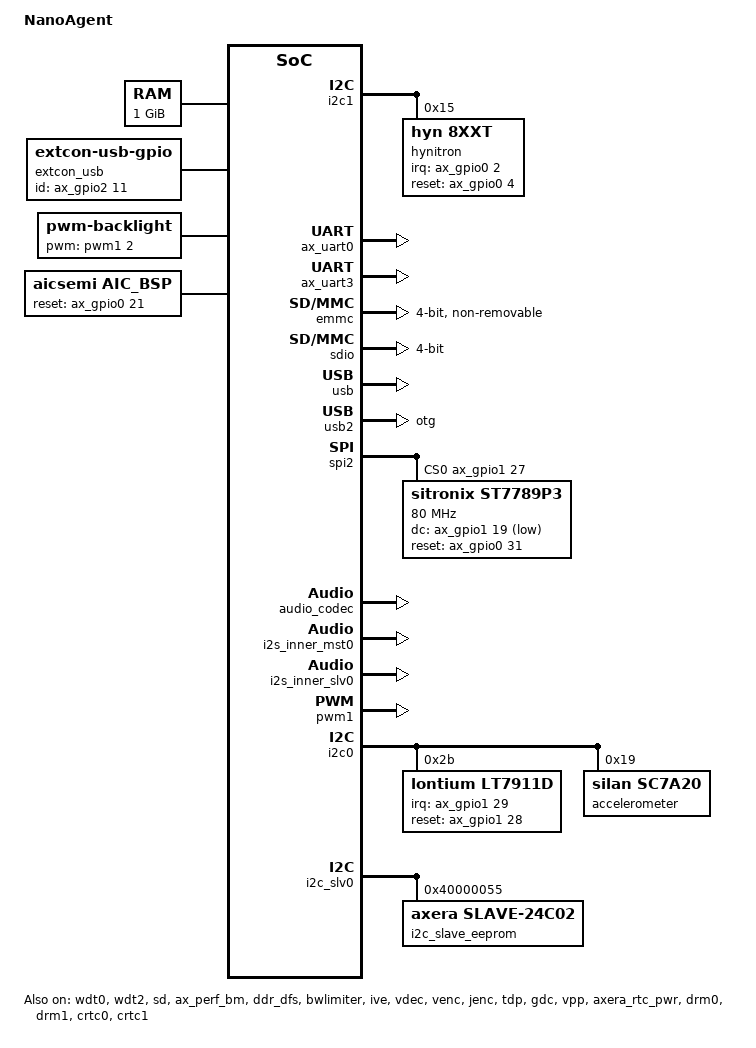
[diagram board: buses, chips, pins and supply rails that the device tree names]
// SPDX-License-Identifier: GPL-2.0
/**************************************************************************************************
 *
 * Copyright (c) 2019-2024 Axera Semiconductor Co., Ltd. All Rights Reserved.
 *
 * This dts file is the property of Axera Semiconductor Co., Ltd. and
 * may not be copied or distributed in any isomorphic form without the prior
 * written consent of Axera Semiconductor Co., Ltd.
 *
 **************************************************************************************************/

/dts-v1/;
#include "AX620E.dtsi"
/ {
	model = "NanoAgent";
	memory@40000000 {
		device_type = "memory";
		reg = <0x0 0x40000000 0x0 0x40000000>;
	};
	reserved-memory {
		#address-cells = <2>;
		#size-cells = <2>;
		ranges;

		axera_memory_dump@0 {
			compatible = "axera_memory_dump";
			reg = <0x0 0x45ffd000 0x0 0x3000>;
			dump_ranges = <0x0 0x40000000 0x0 0x50000000>;
			no-map;
		};
#ifdef SUPPORT_RECYCLE_CMM
		cmm_reserved {
			compatible = "axera, cmm_rec";
			reg = <0 CMM_RECYCLE_START_ADDR 0 CMM_RECYCLE_SIZE>;
		};
#endif
	};

	chosen {
		bootargs = BOOTARGS;
	};

	dummy_codec: dummy-codec {
		compatible = "dummy-codec";
		#sound-dai-cells = <0>;
	};

	sound_lt7911d: sound-lt7911d {
		status = "okay";
		compatible = "simple-audio-card";
		simple-audio-card,name = "Lontium Lt7911D";
		simple-audio-card,format = "i2s";
		simple-audio-card,bitclock-master = <&lt7911d_codec>;
		simple-audio-card,frame-master = <&lt7911d_codec>;

		simple-audio-card,cpu {
			sound-dai = <&i2s_inner_slv0>;
		};

		lt7911d_codec: simple-audio-card,codec {
			sound-dai = <&dummy_codec>;
		};
	};

	sound_spk: sound-spk {
		status = "okay";
		compatible = "simple-audio-card";
		simple-audio-card,name = "Axera Audio";
		simple-audio-card,format = "i2s";
		simple-audio-card,playback-only;

		simple-audio-card,cpu {
			sound-dai = <&i2s_inner_mst0>;
		};

		simple-audio-card,codec {
			sound-dai = <&audio_codec>;
			system-clock-frequency = <12288000>;
		};
	};

	axera_logctl {
		compatible = "axera,logctl";
		config = "/etc/ax_syslog.conf";
		logstate = /bits/ 8 <1 1>;
		loglevel = /bits/ 8 <4 4>;
	};

	extcon_usb: extcon_usb {
		compatible = "linux,extcon-usb-gpio";
		id-gpio = <&ax_gpio2 11 0>; /* GPIO2_A11 */
		status = "okay";
	};

	vfb0: vfb@0 {
		compatible = "axera,vfb";
		id = <0>;
		width = <1920>;
		height = <1080>;
		bpp = <32>;
		buf-num = <2>;
		status = "disabled";
	};

	vfb1: vfb@1 {
		compatible = "axera,vfb";
		id = <1>;
		width = <64>;
		height = <64>;
		bpp = <32>;
		buf-num = <1>;
		cursor;
		status = "disabled";
	};

	vfb2: vfb@2 {
		compatible = "axera,vfb";
		id = <2>;
		width = <64>;
		height = <64>;
		bpp = <32>;
		buf-num = <1>;
		cursor;
		status = "disabled";
	};

	backlight: backlight {
		status = "okay";
		compatible = "pwm-backlight";
		pwms = <&pwm1 2 462963>;
		brightness-levels = <
			  0   1   2   3   4   5   6   7
			  8   9  10  11  12  13  14  15
			 16  17  18  19  20  21  22  23
			 24  25  26  27  28  29  30  31
			 32  33  34  35  36  37  38  39
			 40  41  42  43  44  45  46  47
			 48  49  50  51  52  53  54  55
			 56  57  58  59  60  61  62  63
			 64  65  66  67  68  69  70  71
			 72  73  74  75  76  77  78  79
			 80  81  82  83  84  85  86  87
			 88  89  90  91  92  93  94  95
			 96  97  98  99 100 101 102 103
			104 105 106 107 108 109 110 111
			112 113 114 115 116 117 118 119
			120 121 122 123 124 125 126 127
			128 129 130 131 132 133 134 135
			136 137 138 139 140 141 142 143
			144 145 146 147 148 149 150 151
			152 153 154 155 156 157 158 159
			160 161 162 163 164 165 166 167
			168 169 170 171 172 173 174 175
			176 177 178 179 180 181 182 183
			184 185 186 187 188 189 190 191
			192 193 194 195 196 197 198 199
			200 201 202 203 204 205 206 207
			208 209 210 211 212 213 214 215
			216 217 218 219 220 221 222 223
			224 225 226 227 228 229 230 231
			232 233 234 235 236 237 238 239
			240 241 242 243 244 245 246 247
			248 249 250 251 252 253 254 255>;
		default-brightness-level = <255>;
	};

	aic_bsp {
		compatible = "aicsemi,aic_bsp";
		reset-gpio = <&ax_gpio0 21 0>; // GPIO0_A21
		pinctrl-names = "default";
		pinctrl-0 = <&ephy_led1_gpio1_a29_pins>;
		status = "okay";
	};
};

&i2c1 {
	status = "okay";
	#address-cells = <0x1>;
	#size-cells = <0x0>;

	hynitron: hynitron@15 {
		compatible = "hyn,8xxt";
		reg = <0x15>;

		irq-gpio = <&ax_gpio0 2 0>;
		reset-gpio = <&ax_gpio0 4 0>;
		max-touch-number = <5>;

		display-coords = <0 0 239 283>;
		pos-swap = <0>;
		posx-reverse = <0>;
		posy-reverse = <0>;
		status = "okay";
	};
};

&ax_uart0 {
	status = "okay";
};

&ax_uart3 {
	status = "okay";
};

&wdt0 {
	status = "okay";
};

&wdt2 {
	status = "okay";
};

&emmc{
	max-frequency = <200000000>;
	sdhci-caps-mask = <0x2 0x03200000>;
	bus-width = <4>;
	no-sdio;
	no-sd;
	non-removable;
	disable-wp;
	cap-mmc-hw-reset;
	hw-reset = <&ax_gpio2 23 0>;
	cap-mmc-highspeed;
	mmc-hs200-1_8v;
	cdns,phy-input-delay-sd-highspeed = <2>;
	cdns,phy-input-delay-legacy = <4>;
	cdns,phy-input-delay-sd-uhs-sdr12 = <1>;
	cdns,phy-input-delay-sd-uhs-sdr25 = <2>;
	cdns,phy-input-delay-sd-uhs-sdr50 = <1>;
	cdns,phy-input-delay-sd-uhs-ddr50 = <2>;
	cdns,phy-input-delay-mmc-legacy = <1>;
	cdns,phy-input-delay-mmc-highspeed = <2>;
	cdns,phy-input-delay-mmc-ddr = <2>;
	cdns,phy-dll-delay-sdclk = <45>;
	cdns,phy-dll-delay-sdclk-hsmmc = <31>;
	cdns,phy-dll-delay-strobe = <18>;
	cdns,phy-dll-phase-detect-sel = <2>;
	fixed-emmc-driver-type = <4>;
	status = "okay";
};

&sd{
	sdhci-caps-mask = <0x7 0x00200000>;
	bus-width = <4>;
	max-frequency = <200000000>;
	cap-sd-highspeed;
	no-sdio;
	no-mmc;
	disable-wp;
	broken-cd;

	cdns,phy-input-delay-sd-highspeed = <2>;
	cdns,phy-input-delay-legacy = <3>;
	cdns,phy-input-delay-sd-uhs-sdr12 = <3>;
	cdns,phy-input-delay-sd-uhs-sdr25 = <2>;
	cdns,phy-input-delay-sd-uhs-sdr50 = <1>;
	cdns,phy-input-delay-sd-uhs-ddr50 = <1>;
	cdns,phy-dll-delay-sdclk = <0>;

	status = "okay";
};

&sdio{
	sdhci-caps-mask = <0x7 0x00200000>;
	bus-width = <4>;
	max-frequency = <200000000>;
	cap-sd-highspeed;
	sd-uhs-sdr25;
	sd-uhs-sdr12;
	sd-uhs-sdr50;
	sd-uhs-ddr50;
	no-1-8-v;
	no-sd;
	no-mmc;
	disable-wp;
	broken-cd;
	cdns,phy-input-delay-sd-highspeed = <4>;
	cdns,phy-input-delay-legacy = <3>;
	cdns,phy-input-delay-sd-uhs-sdr12 = <3>;
	cdns,phy-input-delay-sd-uhs-sdr25 = <2>;
	cdns,phy-input-delay-sd-uhs-sdr50 = <1>;
	cdns,phy-input-delay-sd-uhs-ddr50 = <1>;
	cdns,phy-dll-delay-sdclk = <0>;

	status = "okay";
};


&usb {
	status = "okay";
};

&usb2 {
	dr_mode = "otg";
	extcon = <&extcon_usb>;
};

&ax_gpio2 {
	status = "okay";
};

&spi0 {
	status = "disabled";
	/* create /dev/spidev0.0 node */
	spidev_user@0 {
		status = "okay";
		compatible = "axera,spidev";
		reg = <0>;
		spi-max-frequency = <26000000>;
	};
};

&spi1 {
	status = "disabled";
	/* create /dev/spidev1.0 node */
	spidev_user@0 {
		status = "okay";
		compatible = "axera,spidev";
		reg = <0>;
		spi-max-frequency = <26000000>;
	};
};

&spi2 {
	status = "okay";
	pinctrl-names = "default";
	pinctrl-0 = <&ephy_rstn_spi_m2_cs0_m_pins>,
				<&rgmii_txclk_spi_m2_sclk_m_pins>,
				<&rgmii_txd0_spi_m2_mosi_m_pins>,
				<&rgmii_txd1_gpio1_a19_pins>,
				<&uart1_rxd_gpio0_a31_pins>;

	cs-gpios = <&ax_gpio1 27 0>;

	st7789p3: st7789p3@0{
		compatible = "sitronix,st7789p3";
		reg = <0>;
		status = "okay";
		spi-max-frequency = <80000000>;
		rotate = <0>;
		fps = <60>;
		buswidth = <8>;
		dc-gpios = <&ax_gpio1 19 1>;
		reset-gpios = <&ax_gpio0 31 0>;
		debug = <0>;
	};
};

&spi4 {
	status = "disabled";
};

&audio_codec {
	gpio-mic-rp = <&ax_gpio1 7 0>; /* GPIO1_A7 */
	gpio-mic-rn = <&ax_gpio1 6 0>; /* GPIO1_A6 */
	gpio-mic-ln = <&ax_gpio1 5 0>; /* GPIO1_A5 */
	gpio-mic-lp = <&ax_gpio1 4 0>; /* GPIO1_A4 */
	gpio-pa-speaker = <&ax_gpio1 0 0>;
	mic_type = "amic"; /* mic_type = "dmic"; */
	status = "okay";
};

&i2s_inner_mst0 {
	status = "okay";
	dma-buffer = <256>;
	/*i2s - pad0*/
	i2s-m-aec-cycle-sel = <0>;    /*23-22*/
	i2s-m-aec-sclk-sel = <0>;     /*21*/
	i2s-inner-codec-en = <1>;     /*20*/
	i2s-exter-codec-en = <1>;     /*19*/
	i2s-m-exter-codec-en = <0>;   /*18*/
	i2s-exter-codec-mst = <0>;    /*17*/
	i2s-m-exter-codec-mst = <0>;  /*16*/
	iis-out-tdm-en = <0>;         /*15*/
	iis-m-out-tdm-en = <0>;       /*14*/
	i2s-m-rx0-sel = <0>;          /*13*/
	i2s-m-rx1-sel = <0>;          /*12-11*/
	i2s-s-rx0-sel = <1>;          /*10-9*/
	i2s-s-rx1-sel = <2>;          /*8-7*/
	i2s-s-sclk-sel = <1>;         /*6-5*/
	tdm-m-rx-sel = <0>;           /*4-3*/
	tdm-s-rx-sel = <0>;           /*2-1*/
	tdm-s-sclk-sel = <0>;         /*0*/
	hdmi-i2s;
};

&i2s_inner_slv0 {
	status = "okay";
	dma-buffer = <256>;
	/*i2s - pad0*/
	i2s-m-aec-cycle-sel = <0>;    /*23-22*/
	i2s-m-aec-sclk-sel = <0>;     /*21*/
	i2s-inner-codec-en = <1>;     /*20*/
	i2s-exter-codec-en = <1>;     /*19*/
	i2s-m-exter-codec-en = <0>;   /*18*/
	i2s-exter-codec-mst = <0>;    /*17*/
	i2s-m-exter-codec-mst = <0>;  /*16*/
	iis-out-tdm-en = <0>;         /*15*/
	iis-m-out-tdm-en = <0>;       /*14*/
	i2s-m-rx0-sel = <0>;          /*13*/
	i2s-m-rx1-sel = <0>;          /*12-11*/
	i2s-s-rx0-sel = <1>;          /*10-9*/
	i2s-s-rx1-sel = <2>;          /*8-7*/
	i2s-s-sclk-sel = <1>;         /*6-5*/
	tdm-m-rx-sel = <0>;           /*4-3*/
	tdm-s-rx-sel = <0>;           /*2-1*/
	tdm-s-sclk-sel = <0>;         /*0*/
	hdmi-i2s;
};

&i2s_mst0 {
	status = "disabled";
	/*i2s - pad0*/
	i2s-m-aec-cycle-sel = <0>;    /*23-22*/
	i2s-m-aec-sclk-sel = <0>;     /*21*/
	i2s-inner-codec-en = <0>;     /*20*/
	i2s-exter-codec-en = <1>;     /*19*/
	i2s-m-exter-codec-en = <0>;   /*18*/
	i2s-exter-codec-mst = <1>;    /*17*/
	i2s-m-exter-codec-mst = <0>;  /*16*/
	iis-out-tdm-en = <0>;         /*15*/
	iis-m-out-tdm-en = <0>;       /*14*/
	i2s-m-rx0-sel = <0>;          /*13*/
	i2s-m-rx1-sel = <2>;          /*12-11*/
	i2s-s-rx0-sel = <0>;          /*10-9*/
	i2s-s-rx1-sel = <0>;          /*8-7*/
	i2s-s-sclk-sel = <0>;         /*6-5*/
	tdm-m-rx-sel = <0>;           /*4-3*/
	tdm-s-rx-sel = <0>;           /*2-1*/
	tdm-s-sclk-sel = <0>;         /*0*/
};

&i2s_slv0 {
	status = "disabled";
	/*i2s - pad0*/
	i2s-m-aec-cycle-sel = <0>;    /*23-22*/
	i2s-m-aec-sclk-sel = <0>;     /*21*/
	i2s-inner-codec-en = <0>;     /*20*/
	i2s-exter-codec-en = <1>;     /*19*/
	i2s-m-exter-codec-en = <0>;   /*18*/
	i2s-exter-codec-mst = <0>;    /*17*/
	i2s-m-exter-codec-mst = <0>;  /*16*/
	iis-out-tdm-en = <0>;         /*15*/
	iis-m-out-tdm-en = <0>;       /*14*/
	i2s-m-rx0-sel = <0>;          /*13*/
	i2s-m-rx1-sel = <0>;          /*12-11*/
	i2s-s-rx0-sel = <1>;          /*10-9*/
	i2s-s-rx1-sel = <3>;          /*8-7*/
	i2s-s-sclk-sel = <1>;         /*6-5*/
	tdm-m-rx-sel = <0>;           /*4-3*/
	tdm-s-rx-sel = <0>;           /*2-1*/
	tdm-s-sclk-sel = <0>;         /*0*/
	hdmi-i2s;
};

&i2s_tdm_mst0 {
	status = "disabled";
	/*i2s - pad0*/
	i2s-m-aec-cycle-sel = <0>;    /*23-22*/
	i2s-m-aec-sclk-sel = <0>;     /*21*/
	i2s-inner-codec-en = <0>;     /*20*/
	i2s-exter-codec-en = <1>;     /*19*/
	i2s-m-exter-codec-en = <0>;   /*18*/
	i2s-exter-codec-mst = <1>;    /*17*/
	i2s-m-exter-codec-mst = <0>;  /*16*/
	iis-out-tdm-en = <1>;         /*15*/
	iis-m-out-tdm-en = <0>;       /*14*/
	i2s-m-rx0-sel = <0>;          /*13*/
	i2s-m-rx1-sel = <0>;          /*12-11*/
	i2s-s-rx0-sel = <0>;          /*10-9*/
	i2s-s-rx1-sel = <0>;          /*8-7*/
	i2s-s-sclk-sel = <0>;         /*6-5*/
	tdm-m-rx-sel = <0>;           /*4-3*/
	tdm-s-rx-sel = <0>;           /*2-1*/
	tdm-s-sclk-sel = <0>;         /*0*/
};

&i2s_tdm_slv0 {
	status = "disabled";
	/*i2s - pad0*/
	i2s-m-aec-cycle-sel = <0>;    /*23-22*/
	i2s-m-aec-sclk-sel = <0>;     /*21*/
	i2s-inner-codec-en = <0>;     /*20*/
	i2s-exter-codec-en = <1>;     /*19*/
	i2s-m-exter-codec-en = <0>;   /*18*/
	i2s-exter-codec-mst = <0>;    /*17*/
	i2s-m-exter-codec-mst = <0>;  /*16*/
	iis-out-tdm-en = <0>;         /*15*/
	iis-m-out-tdm-en = <0>;       /*14*/
	i2s-m-rx0-sel = <0>;          /*13*/
	i2s-m-rx1-sel = <0>;          /*12-11*/
	i2s-s-rx0-sel = <0>;          /*10-9*/
	i2s-s-rx1-sel = <0>;          /*8-7*/
	i2s-s-sclk-sel = <0>;         /*6-5*/
	tdm-m-rx-sel = <0>;           /*4-3*/
	tdm-s-rx-sel = <0>;           /*2-1*/
	tdm-s-sclk-sel = <0>;         /*0*/
};


#if 0
&eth0 {
	status = "disabled";

	phy-handle = <&phy0>;
	phy-mode = "rgmii";
	phy-rst-gpio = <&ax_gpio1 27 0>; /* GPIO1_A27 */

	mdio {
		#address-cells = <1>;
		#size-cells = <0>;
		compatible = "snps,dwmac-mdio";
		phy0: jl2xxx-phy@1 {
			compatible = "ethernet-phy-id937c.4030";
			jl2xxx,led-enable = <JL2XXX_LED_CTRL_EN>;
			jl2xxx,led-mode = <JL2XXX_CFG_LED_MODE>;
			jl2xxx,led-period = <JL2XXX_GLOBAL_PERIOD_MS>;
			jl2xxx,led-on = <JL2XXX_GLOBAL_ON_MS>;
			jl2xxx,led-polarity = <JL2XXX_LED_POLARITY>;
			jl2xxx,patch-enable = <JL2XXX_PATCH_CTRL_EN>;
			jl2xxx,rgmii-enable = <JL2XXX_RGMII_CTRL_EN>;
			jl2xxx,rgmii-tx-delay = <JL2XXX_RGMII_TX_DLY_2NS>;
			jl2xxx,rgmii-rx-delay = <JL2XXX_RGMII_RX_DLY_2NS>;
			jl2xxx,clk-enable = <JL2XXX_CLK_CTRL_EN>;
			jl2xxx,fld-enable = <JL2XXX_FLD_CTRL_EN>;
			jl2xxx,fld-delay = <JL2XXX_FLD_DELAY>;
			jl2xxx,wol-enable = <JL2XXX_WOL_CTRL_EN>;
			jl2xxx,interrupt-enable = <JL2XXX_INTR_CTRL_EN>;
			jl2xxx,downshift-enable = <JL2XXX_DSFT_CTRL_EN>;
			jl2xxx,downshift-count = <JL2XXX_DSFT_AN_CNT>;
			jl2xxx,work_mode-enable = <JL2XXX_WORK_MODE_CTRL_EN>;
			jl2xxx,work_mode-mode = <JL2XXX_WOEK_MODE_MODE>;
			jl2xxx,lpbk-enable = <JL2XXX_LPBK_CTRL_EN>;
			jl2xxx,lpbk-mode = <JL2XXX_LPBK_MODE>;
			jl2xxx,slew_rate-enable = <JL2XXX_SLEW_RATE_CTRL_EN>;
			jl2xxx,rxc_out-enable = <JL2XXX_RXC_OUT_CTRL_EN>;
			reg = <1>;
		};
	};
};
#else
&eth0 {
	status = "disabled";

	phy-handle = <&phy0>;
	phy-mode = "rmii";
	axera-ephy,led0-mode = <EPHY_LED_SPEED>;
	axera-ephy,led0-enable;
	axera-ephy,led1-mode = <EPHY_LED_LINK>;
	axera-ephy,led1-enable;
	axera-ephy,led-polarity = <EPHY_LED_LOW_ACTIVE>;
	mdio {
		#address-cells = <1>;
		#size-cells = <0>;
		compatible = "snps,dwmac-mdio";
		phy0: axera-ephy@1 {
			device_tpye = "ethernet-phy";
			compatible = "ethernet-phy-id0044.1400";
			reg = <1>;
		};
	};
};
#endif

&pwm0 {
	status = "disabled";
};

&pwm1 {
	status = "okay";
	pinctrl-names = "default";
	pinctrl-0 = <&uart1_txd_pwm06_pins>;
};

&pwm2 {
	status = "disabled";
};

&deb_gpio_lp {
	lp-status = <41 1>; /* use db_gpio41 as wakeup source */
	status = "okay";
};

&i2c0 {
	status = "okay";
	#address-cells = <0x1>;
	#size-cells = <0x0>;

	lt7911d: lt7911d@2b {
		compatible = "lontium,lt7911d";
		reg = <0x2b>;
		irq-gpio = <&ax_gpio1 29 0>;    /* GPIO1_A29 */
		reset-gpio = <&ax_gpio1 28 0>;  /* GPIO1_A28 */
		status = "okay";
	};

	accelerometer: accelerometer@19 {
		compatible = "silan,sc7a20";
		reg = <0x19>;
		status = "okay";
	};
};

&i2c_slv0 {
	status = "okay";
	#address-cells = <0x1>;
	#size-cells = <0x0>;

	i2c_slave_eeprom: i2c_slave_eeprom@55 {
		compatible = "axera,slave-24c02";
		reg = <0x40000055>;
		status = "okay";
	};
};

&ax_perf_bm {
	status = "okay";
};

&ax_firewall {
	status = "disabled";
};

&ddr_dfs {
       status = "okay";
};

&bwlimiter {
	status = "okay";
};

&ive {
	status = "okay";
};

&vdec {
	status = "okay";
};

&venc {
	status = "okay";
};

&jenc {
	status = "okay";
};

&tdp {
	status = "okay";
};

&gdc {
	status = "okay";
};

&vpp {
	status = "okay";
};

&axera_rtc_pwr {
	status = "okay";
};

&drm0 {
	status = "okay";
};

&drm1 {
	status = "okay";
};

&crtc0 {
	status = "okay";
};

&crtc1 {
	status = "okay";
};

&vo0 {
	status = "disabled";
};

&vo1 {
	status = "disabled";
};

&bt_dpi0 {
	status = "disabled";
};

&bt_dpi1 {
	status = "disabled";
	dmux-sel = <0>;
};

&dsi {
	status = "disabled";
};

&dma {
	status = "okay";
};

&dma_per {
	status = "okay";
};

&dmac {
	status = "disabled";
};

&panel0 {
	status = "disabled";
};

&panel1 {
	status = "disabled";
};

&panel_dsi {
	status = "disabled";
	prepare-delay-ms = <0>;
	unprepare-delay-ms = <0>;
	enable-delay-ms = <0>;
	disable-delay-ms = <150>;
	reset-gpio = <&ax_gpio1 0 0>;
	pinctrl-names = "default";
	pinctrl-0 = <&uart2_txd_gpio1_a0_pins>;

	dsi,format = <MIPI_DSI_FMT_RGB888>;
	dsi,flags = <(MIPI_DSI_MODE_VIDEO_SYNC_PULSE | MIPI_DSI_MODE_VIDEO | MIPI_DSI_MODE_LPM |MIPI_DSI_CLOCK_NON_CONTINUOUS )>;
#if 1
	dsi,lanes = <4>;
	panel-init-seq = [39 00 04 B9 FF 83 99
                          39 00 10 B1 02 04 6B 8B 01 32 33 11 11 53 01 56 73 02 02
                          39 00 0c B2 00 80 80 AE 05 07 5A 11 00 10 10
                          39 00 2d B4 00 FF 00 AC 00 9C 00 00 08 00 00 02 00 26 02 07 09 21 03 00 00 04 A4 88 00 AC 00 9C 00 00 08 00 00 02 00 24 02 07 09 00 00 04 A4 12
                          39 05 22 D3 00 00 00 00 00 00 00 00 32 10 05 00 05 00 00 00 00 00 00 00 00 00 00 01 00 07 07 03 00 00 00 05 40
                          39 05 21 D5 00 00 00 01 02 03 00 00 00 00 19 00 18 00 20 21 00 18 00 00 00 00 00 00 00 00 31 31 30 30 2F 2F
                          39 05 21 D6 40 40 03 02 01 00 40 40 40 40 18 40 19 40 21 20 40 18 40 40 40 40 40 40 40 40 31 31 30 30 2F 2F
                          39 00 11 D8 28 02 00 2A 28 02 C0 2A 00 00 00 00 00 00 00 00
                          15 00 02 BD 01
                          39 00 11 D8 00 00 00 00 00 00 00 00 28 2A 00 2A 28 02 C0 2A
                          15 00 02 BD 02
                          39 00 09 D8 28 2A 00 2A 28 02 C0 2A
                          15 00 02 BD 00
                          39 00 03 B6 8D 8D
                          39 00 37 E0 01 49 4F 45 87 8A 8F 84 88 8D 91 94 97 9B A1 A2 A4 AA AB B0 A2 AF AF 59 54 5E 6D 01 49 4F 45 87 8A 8F 84 88 8D 91 94 97 9B A1 A2 A4 AA AB B0 A2 AF AF 59 54 5E 6D
                          15 00 02 D2 33
                          39 00 03 B6 7D 7D
                          39 00 08 BF 40 41 50 09 1A 80 CD
                          15 00 02 CC 08
                          15 05 02 36 00
                          05 00 01 35
                          05 00 01 29
                          05 00 01 11];
	panel-exit-seq = [05 00 01 10];
#else
	dsi,lanes = <2>;
	panel-init-seq = [39 00 06 FF 77 01 00 00 13
					  15 00 02 EF 08
					  39 00 06 FF 77 01 00 00 10
					  39 00 03 C0 2C 00
					  39 00 03 C1 08 02
					  39 00 03 C2 37 05
					  15 00 02 C3 02
					  15 00 02 CC 10
					  39 00 11 B0 04 0E 17 0B 0F 06 08 08 08 24 04 11 0F 2C 33 13
					  39 00 11 B1 0C 16 1D 0E 11 06 08 08 08 24 05 13 11 2D 33 1F
					  39 00 06 FF 77 01 00 00 11
					  15 00 02 B0 54
					  15 00 02 B1 76
					  15 00 02 B2 87
					  15 00 02 B3 80
					  15 00 02 B5 4B
					  15 00 02 B7 85
					  15 00 02 B8 21
					  15 00 02 C1 78
					  15 00 02 C2 78
					  15 64 02 D0 88
					  39 00 04 E0 00 00 02
					  39 00 0C E1 02 00 04 00 01 00 03 00 00 33 33
					  39 00 0D E2 11 11 33 33 6E 00 70 00 6D 00 6F 00
					  39 00 05 E3 00 00 11 11
					  39 00 03 E4 44 44
					  39 00 11 E5 03 6F 00 FF 05 71 00 FF 07 73 00 FF 09 6D 00 FF
					  39 00 05 E6 00 00 11 11
					  39 00 03 E7 44 44
					  39 00 11 E8 02 6E 00 FF 04 70 00 FF 06 72 00 FF 08 6C 00 FF
					  39 00 08 EB 00 01 4E 4E EE 44 00
					  39 00 11 ED 4F 01 23 56 7F FF FF FF FF FF FF F7 65 32 10 F4
					  39 00 07 EF 10 0D 04 08 3F 1F
					  39 00 06 FF 77 01 00 00 00
					  05 78 01 11
					  15 00 02 36 08
					  15 00 02 35 00
					  05 14 01 29];
	panel-exit-seq = [05 00 01 28];
#endif
	dsi-panel_esd_check_enable = /bits/ 8 <0>;
	dsi-panel-check-mode = /bits/ 8 <0>;
	dsi-panel-read-reg = /bits/ 8 <0x0A>;
	dsi-panel-read-length = /bits/ 8 <1>;
	dsi-panel-max-error-count = /bits/ 8 <3>;
	dsi-panel-status-value = /bits/ 8 <0x9D>;
	dsi-panel-check-interval-ms = <2000>;
};

&lvdstx {
	status = "disabled";
};

&panel_lvds {
	status = "disabled";
	data-mapping = "vesa-24";
};

&axera_pmu {
	status = "okay";
};

&pinctrl_ax{
	/include/ "AX620E_pinctrl.dtsi"
};
